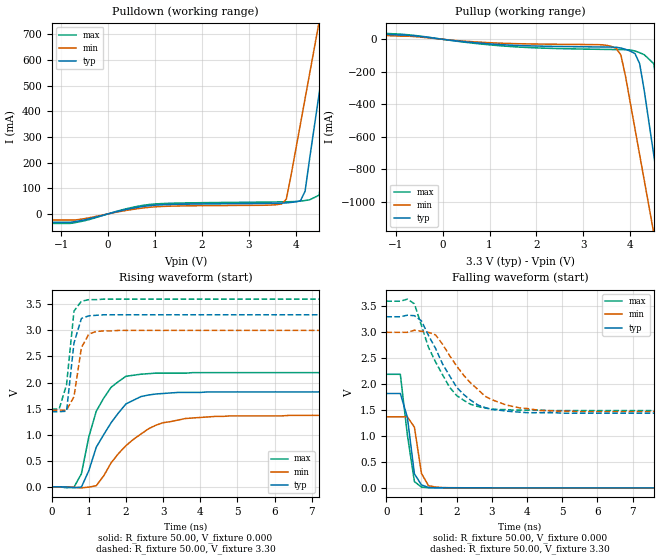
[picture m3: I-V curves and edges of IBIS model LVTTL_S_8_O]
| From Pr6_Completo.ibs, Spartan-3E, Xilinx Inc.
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|   Model LVTTL_S_8_O
[Model]   LVTTL_S_8_O
Model_type   Output
Polarity   Non-Inverting
Enable   Active-Low
Vmeas =   1.40V
Cref =  0.000F
Rref =  1MOhm
Vref =  0.000V
C_comp   1.50pF   1.30pF   1.70pF
[Temperature Range]   25.00   85.00   0.000
[Voltage Range]   3.30V   3.00V   3.60V
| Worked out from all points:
|   slope of the pulldown table from 0 to 0.495 V, typ, clamps not added: 23.5 ohm
|   slope of the pullup table from 0 to 0.495 V, typ, clamps not added: 31.1 ohm
|   rising waveform, R_fixture 50.00, V_fixture 0.000: 20-80 % time 818ps typ, 1.12ns min, 597ps max; typ from 0 V to 1.82 V
|   rising waveform, R_fixture 50.00, V_fixture 3.30: 20-80 % time 216ps typ, 209ps min, 193ps max; typ from 1.44 V to 3.3 V
|   falling waveform, R_fixture 50.00, V_fixture 0.000: 20-80 % time 224ps typ, 188ps min, 254ps max; typ from 1.82 V to 0 V
|   falling waveform, R_fixture 50.00, V_fixture 3.30: 20-80 % time 973ps typ, 1.12ns min, 858ps max; typ from 3.3 V to 1.44 V
[Pulldown]
| voltage   I(typ)   I(min)   I(max)
-3.3V     -32.69mA   -23.84mA   -37.14mA
-800mV    -32.69mA   -23.84mA   -37.14mA
3.7V      41.74mA    38.61mA    46.86mA
3.8V      42.83mA    57.41mA    47.18mA
4.1V      50.6mA     350mA      49.77mA
4.2V      88.62mA    450mA      52.13mA
4.3V      220mA      550mA      55.08mA
4.5V      470mA      750mA      73.07mA
4.7V      730mA      950mA      350mA
4.9V      990mA      1.15A      640mA
5.1V      1.25A      1.36A      940mA
6.6V      3.21A      2.88A      3.17A
[Pullup]
| voltage   I(typ)   I(min)   I(max)
-3.3V     46mA       37mA       54mA
1.6V      -37.86mA   -27.14mA   -47.21mA
3.6V      -48.03mA   -44.2mA    -62.74mA
3.8V      -53.49mA   -97.22mA   -63.49mA
4.1V      -87.5mA    -550mA     -71.95mA
4.2V      -150mA     -710mA     -82.34mA
4.3V      -320mA     -870mA     -95.34mA
4.5V      -710mA     -1.19A     -150mA
4.7V      -1.1A      -1.51A     -560mA
4.9V      -1.49A     -1.83A     -1.03A
5.1V      -1.88A     -2.15A     -1.49A
6.6V      -4.81A     -4.57A     -5.02A
[Ramp]
dV/dt_r   1.09/0.76n   0.82/1.12n   1.31/0.54n
dV/dt_f   1.11/0.92n   0.92/1.16n   1.26/0.79n
R_load = 50.00
[Rising Waveform]
R_fixture = 50.00
V_fixture = 0.000
| time   V(typ)   V(min)   V(max)
0s        0V         0V         0V
600ps     -19.2mV    -11.27mV   -7.43mV
800ps     -4.98mV    -20.6mV    250mV
1ns       310mV      -5.79mV    960mV
1.2ns     760mV      20.24mV    1.45V
1.6ns     1.23V      460mV      1.91V
2ns       1.59V      790mV      2.12V
2.8ns     1.78V      1.18V      2.18V
3.6ns     1.81V      1.31V      2.18V
10ns      1.82V      1.37V      2.19V
[Rising Waveform]
R_fixture = 50.00
V_fixture = 3.30
V_fixture_min = 3.00
V_fixture_max = 3.60
| time   V(typ)   V(min)   V(max)
0s        1.44V      1.47V      1.49V
200ps     1.44V      1.47V      1.49V
400ps     1.45V      1.47V      1.96V
600ps     2.76V      1.73V      3.37V
800ps     3.23V      2.67V      3.56V
1ns       3.28V      2.93V      3.59V
1.2ns     3.29V      2.98V      3.59V
1.4ns     3.3V       2.99V      3.6V
1.8ns     3.3V       3V         3.6V
10ns      3.3V       3V         3.6V
[Falling Waveform]
R_fixture = 50.00
V_fixture = 0.000
| time   V(typ)   V(min)   V(max)
0s        1.82V      1.37V      2.19V
400ps     1.82V      1.37V      2.19V
600ps     1.36V      1.37V      1.02V
800ps     270mV      1.17V      120mV
1ns       57.57mV    280mV      15.64mV
1.2ns     7mV        41.07mV    1.77mV
1.4ns     3.34mV     15.93mV    1.85mV
1.6ns     2.27mV     5.58mV     1.9mV
10ns      -5.11uV    15.02uV    -12.08uV
[Falling Waveform]
R_fixture = 50.00
V_fixture = 3.30
V_fixture_min = 3.00
V_fixture_max = 3.60
| time   V(typ)   V(min)   V(max)
0s        3.3V       3V         3.6V
800ps     3.32V      3.04V      3.55V
1ns       3.22V      3.02V      3.13V
1.2ns     2.94V      3V         2.71V
1.6ns     2.39V      2.77V      2.18V
2ns       1.94V      2.35V      1.78V
2.4ns     1.69V      2.02V      1.61V
3ns       1.51V      1.7V       1.52V
4.4ns     1.45V      1.49V      1.5V
10ns      1.44V      1.47V      1.49V
